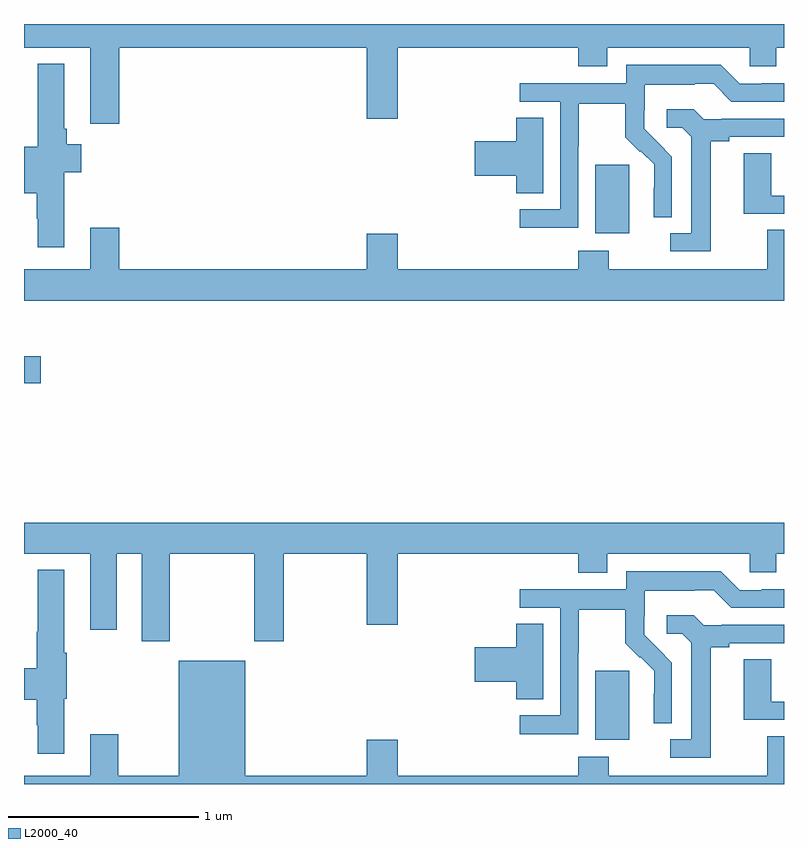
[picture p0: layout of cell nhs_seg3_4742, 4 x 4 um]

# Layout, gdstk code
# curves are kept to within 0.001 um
import gdstk
lib = gdstk.Library(unit=1e-6, precision=1e-09)
def R(c, l, rs):  # rectangles x0, y0, x1, y1
    for r in rs: c.add(gdstk.rectangle(r[:2], r[2:], *l))
def P(c, l, *ps):  # polygons
    for p in ps: c.add(gdstk.Polygon(p, *l))
L2000_40 = (2000, 40)

nhs_seg3_4742 = lib.new_cell('nhs_seg3_4742')
R(nhs_seg3_4742, L2000_40, [(370.007,670.634,370.186,670.995), (367,672.509,367.087,672.651), (370.007,673.298,370.186,673.659)])
P(nhs_seg3_4742, L2000_40, [(367.502,674.276),(368.804,674.276),(368.804,673.902),(368.968,673.902),(368.968,674.276),(369.917,674.276),(369.917,674.177),(370.069,674.177),(370.069,674.276),(370.821,674.276),(370.821,674.178),(370.959,674.178),(370.959,674.276),(371,674.276),(371,674.4),(367,674.4),(367,674.276),(367.349,674.276),(367.349,673.875),(367.502,673.875)],
  [(367.213,673.619),(367.3,673.619),(367.3,673.766),(367.226,673.766),(367.226,673.849),(367.213,673.849),(367.213,674.191),(367.073,674.191),(367.073,673.753),(367,673.753),(367,673.508),(367.066,673.508),(367.066,673.374),(367.073,673.374),(367.073,673.224),(367.213,673.224)],
  [(369.918,673.756),(369.921,673.756),(369.921,673.98),(370.165,673.98),(370.165,673.805),(370.242,673.728),(370.245,673.731),(370.316,673.661),(370.316,673.538),(370.314,673.538),(370.314,673.384),(370.41,673.384),(370.41,673.702),(370.264,673.85),(370.264,673.947),(370.266,673.947),(370.266,674.081),(370.529,674.081),(370.529,674.085),(370.629,674.085),(370.722,673.992),(371,673.992),(371,674.088),(370.883,674.088),(370.883,674.085),(370.767,674.085),(370.667,674.185),(370.17,674.185),(370.17,674.088),(369.609,674.088),(369.609,673.992),(369.822,673.992),(369.822,673.425),(369.609,673.425),(369.609,673.327),(369.918,673.327)],
  [(370.615,673.784),(370.711,673.784),(370.711,673.806),(371,673.806),(371,673.902),(370.672,673.902),(370.672,673.899),(370.578,673.899),(370.526,673.951),(370.383,673.951),(370.383,673.854),(370.464,673.854),(370.511,673.807),(370.511,673.299),(370.401,673.299),(370.401,673.203),(370.615,673.203)],
  [(369.733,673.907),(369.59,673.907),(369.59,673.784),(369.372,673.784),(369.372,673.601),(369.59,673.601),(369.59,673.51),(369.733,673.51)],
  [(371,673.497),(370.932,673.497),(370.932,673.721),(370.787,673.721),(370.787,673.401),(371,673.401)],
  [(371,673.316),(370.913,673.316),(370.913,673.108),(370.077,673.108),(370.077,673.207),(369.917,673.207),(369.917,673.108),(368.968,673.108),(368.968,673.297),(368.804,673.297),(368.804,673.108),(367.502,673.108),(367.502,673.327),(367.349,673.327),(367.349,673.108),(367,673.108),(367,672.944),(371,672.944)],
  [(367.767,671.612),(368.212,671.612),(368.212,671.151),(368.367,671.151),(368.367,671.612),(368.804,671.612),(368.804,671.238),(368.968,671.238),(368.968,671.612),(369.917,671.612),(369.917,671.513),(370.069,671.513),(370.069,671.612),(370.821,671.612),(370.821,671.514),(370.959,671.514),(370.959,671.612),(371,671.612),(371,671.776),(367,671.776),(367,671.612),(367.349,671.612),(367.349,671.211),(367.489,671.211),(367.489,671.612),(367.619,671.612),(367.619,671.151),(367.767,671.151)],
  [(367.213,670.848),(367.226,670.848),(367.226,671.092),(367.213,671.092),(367.213,671.527),(367.073,671.527),(367.073,671.201),(367.066,671.201),(367.066,671.009),(367,671.009),(367,670.844),(367.066,670.844),(367.066,670.71),(367.073,670.71),(367.073,670.56),(367.213,670.56)],
  [(369.918,671.092),(369.921,671.092),(369.921,671.316),(370.165,671.316),(370.165,671.141),(370.242,671.064),(370.245,671.067),(370.316,670.997),(370.316,670.874),(370.314,670.874),(370.314,670.72),(370.41,670.72),(370.41,671.038),(370.264,671.186),(370.264,671.283),(370.266,671.283),(370.266,671.417),(370.529,671.417),(370.529,671.421),(370.629,671.421),(370.722,671.328),(371,671.328),(371,671.424),(370.883,671.424),(370.883,671.421),(370.767,671.421),(370.667,671.521),(370.17,671.521),(370.17,671.424),(369.609,671.424),(369.609,671.328),(369.822,671.328),(369.822,670.761),(369.609,670.761),(369.609,670.663),(369.918,670.663)],
  [(370.615,671.12),(370.711,671.12),(370.711,671.142),(371,671.142),(371,671.238),(370.672,671.238),(370.672,671.235),(370.578,671.235),(370.526,671.287),(370.383,671.287),(370.383,671.19),(370.464,671.19),(370.511,671.143),(370.511,670.635),(370.401,670.635),(370.401,670.539),(370.615,670.539)],
  [(369.733,671.243),(369.59,671.243),(369.59,671.12),(369.372,671.12),(369.372,670.937),(369.59,670.937),(369.59,670.846),(369.733,670.846)],
  [(371,670.833),(370.932,670.833),(370.932,671.057),(370.787,671.057),(370.787,670.737),(371,670.737)],
  [(371,670.652),(370.913,670.652),(370.913,670.444),(370.077,670.444),(370.077,670.543),(369.917,670.543),(369.917,670.444),(368.968,670.444),(368.968,670.633),(368.804,670.633),(368.804,670.444),(368.164,670.444),(368.164,671.05),(367.814,671.05),(367.814,670.444),(367.497,670.444),(367.497,670.663),(367.349,670.663),(367.349,670.444),(367,670.444),(367,670.4),(371,670.4)])

lib.write_gds('nhs_seg3_4742.gds')
